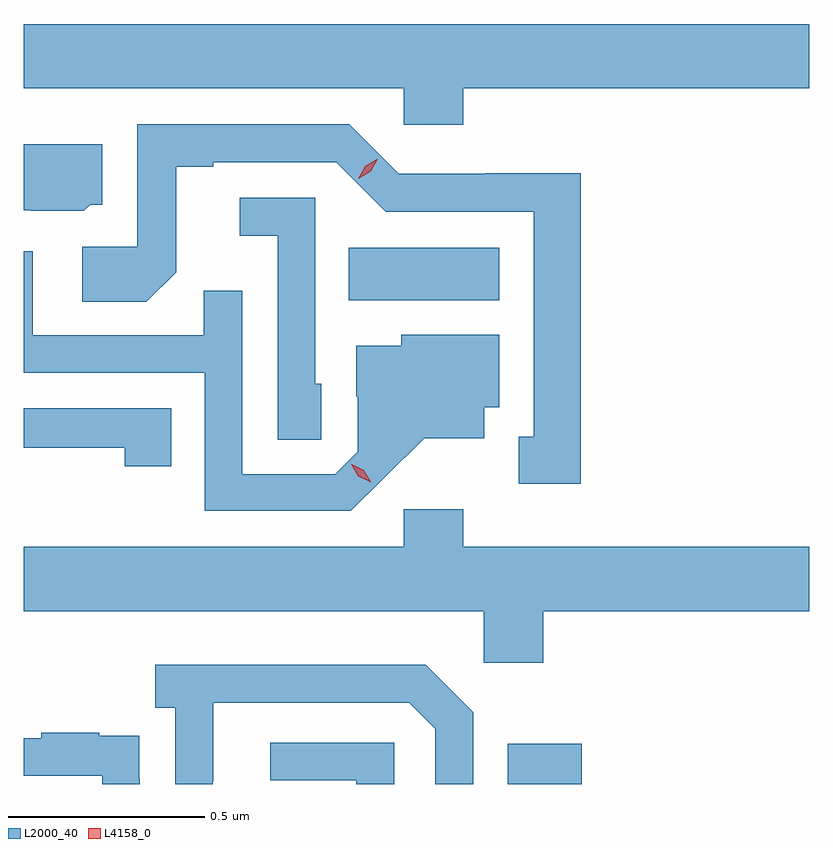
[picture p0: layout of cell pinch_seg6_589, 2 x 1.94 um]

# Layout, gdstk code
import gdstk
lib = gdstk.Library(unit=1e-6, precision=1e-09)
def R(c, l, rs):  # rectangles x0, y0, x1, y1
    for r in rs: c.add(gdstk.rectangle(r[:2], r[2:], *l))
def P(c, l, *ps):  # polygons
    for p in ps: c.add(gdstk.Polygon(p, *l))
L2000_40 = (2000, 40)
L4158_0 = (4158, 0)

pinch_seg6_589 = lib.new_cell('pinch_seg6_589')
R(pinch_seg6_589, L2000_40, [(602.198,964.212,602.386,964.315), (601.792,965.444,602.176,965.578)])
P(pinch_seg6_589, L2000_40, [(602.084,965.984),(602.965,965.984),(602.965,966.148),(600.965,966.148),(600.965,965.984),(601.932,965.984),(601.932,965.891),(602.084,965.891)],
  [(602.383,965.768),(602.142,965.768),(602.142,965.766),(601.92,965.766),(601.794,965.892),(601.254,965.892),(601.254,965.58),(601.113,965.58),(601.113,965.44),(601.277,965.44),(601.353,965.516),(601.353,965.784),(601.447,965.784),(601.447,965.796),(601.761,965.796),(601.887,965.67),(602.264,965.67),(602.264,965.097),(602.225,965.097),(602.225,964.977),(602.383,964.977)],
  [(601.134,965.688),(601.165,965.688),(601.165,965.842),(600.965,965.842),(600.965,965.673),(600.984,965.673),(600.984,965.672),(601.118,965.672)],
  [(601.722,965.232),(601.707,965.232),(601.707,965.706),(601.515,965.706),(601.515,965.609),(601.611,965.609),(601.611,965.089),(601.722,965.089)],
  [(601.882,964.991),(601.985,965.093),(602.137,965.093),(602.137,965.172),(602.176,965.172),(602.176,965.356),(601.926,965.356),(601.926,965.329),(601.811,965.329),(601.811,965.2),(601.815,965.2),(601.815,965.058),(601.758,965.001),(601.521,965.001),(601.521,965.468),(601.423,965.468),(601.423,965.355),(600.987,965.355),(600.987,965.569),(600.965,965.569),(600.965,965.259),(601.425,965.259),(601.425,964.908),(601.798,964.908)],
  [(601.34,965.169),(600.965,965.169),(600.965,965.068),(601.222,965.068),(601.222,965.022),(601.34,965.022)],
  [(602.288,964.652),(602.965,964.652),(602.965,964.816),(602.084,964.816),(602.084,964.912),(601.932,964.912),(601.932,964.816),(600.965,964.816),(600.965,964.652),(602.136,964.652),(602.136,964.521),(602.288,964.521)],
  [(601.446,964.219),(601.447,964.219),(601.447,964.419),(601.947,964.419),(602.013,964.353),(602.013,964.212),(602.109,964.212),(602.109,964.395),(601.988,964.516),(601.299,964.516),(601.299,964.406),(601.35,964.406),(601.35,964.212),(601.446,964.212)],
  [(601.26,964.226),(601.259,964.226),(601.259,964.335),(601.157,964.335),(601.157,964.342),(601.009,964.342),(601.009,964.329),(600.965,964.329),(600.965,964.233),(601.164,964.233),(601.164,964.212),(601.26,964.212)],
  [(601.908,964.317),(601.593,964.317),(601.593,964.221),(601.812,964.221),(601.812,964.212),(601.908,964.212)])
P(pinch_seg6_589, L4158_0, [(601.817,965.754),(601.817,965.754),(601.834,965.786),(601.866,965.805),(601.866,965.805),(601.866,965.805),(601.849,965.773),(601.817,965.754)],
  [(601.848,964.981),(601.817,964.996),(601.799,965.026),(601.799,965.026),(601.8,965.026),(601.83,965.011),(601.848,964.982),(601.848,964.981)])

lib.write_gds('pinch_seg6_589.gds')
